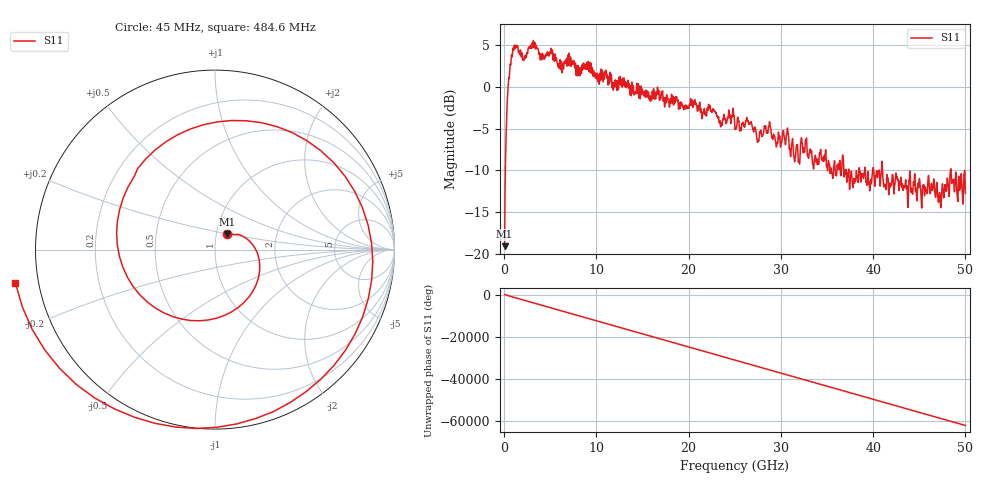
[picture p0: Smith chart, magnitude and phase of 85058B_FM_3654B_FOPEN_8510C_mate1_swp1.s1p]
!Created with skrf (http://scikit-rf.org).
# Hz S RI R 50.0
!freq ReS11 ImS11
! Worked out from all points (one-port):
!   10001 points, 45 MHz to 50 GHz, reference 50 ohm
!   lowest |S11| = -19.1 dB at 45 MHz (marker M1), VSWR 1.25, Z = 56.5 + j9.98 ohm
!   |S11| at or under -10 dB: 37.36 GHz to 38.45 GHz (1.091 GHz wide, 2.88 % of centre); 41.01 GHz to 48.39 GHz (7.376 GHz wide, 16.5 % of centre); 48.45 GHz to 49.92 GHz (1.468 GHz wide, 2.99 % of centre) (the widest 3 of 17)
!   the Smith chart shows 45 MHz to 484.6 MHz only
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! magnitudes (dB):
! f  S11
! 45 MHz  -19.1
! 319.8 MHz  -2.0
! 434.6 MHz  0.1
! 699.4 MHz  2.6
! 1.024 GHz  4.4
! 2.188 GHz  3.7
! 3.237 GHz  4.7
! 6.289 GHz  1.7
! 12.53 GHz  0.4
! 18.78 GHz  -1.7
! 25.02 GHz  -4.9
! 26.51 GHz  -4.4
! 27.52 GHz  -6.4
! 28.68 GHz  -4.8
! 29.45 GHz  -6.7
! 30.6 GHz  -5.9
! 31.27 GHz  -6.2
! 32.56 GHz  -7.8
! 33.61 GHz  -8.9
! 36.57 GHz  -10.0
! 37.51 GHz  -11.1
! 40.78 GHz  -11.6
! 41.3 GHz  -11.8
! 43.76 GHz  -14.3
! 46.46 GHz  -12.3
! 47.21 GHz  -12.7
! 48.52 GHz  -11.5
! 50 GHz  -12.7
